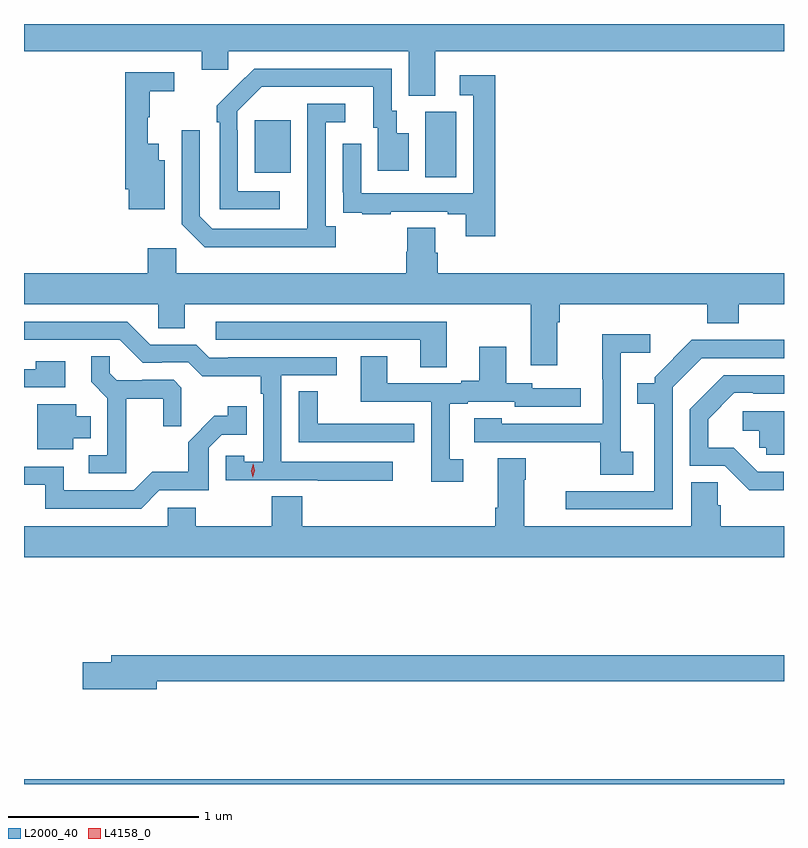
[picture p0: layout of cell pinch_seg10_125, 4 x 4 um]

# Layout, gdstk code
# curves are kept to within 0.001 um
import gdstk
lib = gdstk.Library(unit=1e-6, precision=1e-09)
def R(c, l, rs):  # rectangles x0, y0, x1, y1
    for r in rs: c.add(gdstk.rectangle(r[:2], r[2:], *l))
def P(c, l, *ps):  # polygons
    for p in ps: c.add(gdstk.Polygon(p, *l))
L2000_40 = (2000, 40)
L4158_0 = (4158, 0)

pinch_seg10_125 = lib.new_cell('pinch_seg10_125')
R(pinch_seg10_125, L2000_40, [(730.682,1279.143,734.682,1279.168), (732.794,1282.336,732.958,1282.68), (731.897,1282.361,732.085,1282.636)])
P(pinch_seg10_125, L2000_40, [(732.847,1283),(734.682,1283),(734.682,1283.143),(730.682,1283.143),(730.682,1283),(731.618,1283),(731.618,1282.902),(731.757,1282.902),(731.757,1283),(732.707,1283),(732.707,1282.765),(732.847,1282.765)],
  [(732.028,1282.263),(731.808,1282.263),(731.808,1282.583),(731.805,1282.583),(731.805,1282.683),(731.934,1282.812),(732.521,1282.812),(732.521,1282.596),(732.545,1282.596),(732.545,1282.371),(732.706,1282.371),(732.706,1282.567),(732.643,1282.567),(732.643,1282.686),(732.618,1282.686),(732.618,1282.908),(731.894,1282.908),(731.697,1282.713),(731.697,1282.625),(731.712,1282.625),(731.712,1282.167),(732.028,1282.167)],
  [(731.422,1282.426),(731.392,1282.426),(731.392,1282.513),(731.333,1282.513),(731.333,1282.653),(731.344,1282.653),(731.344,1282.789),(731.473,1282.789),(731.473,1282.89),(731.215,1282.89),(731.215,1282.273),(731.234,1282.273),(731.234,1282.169),(731.422,1282.169)],
  [(733.163,1282.873),(732.975,1282.873),(732.975,1282.767),(733.047,1282.767),(733.047,1282.251),(732.456,1282.251),(732.456,1282.513),(732.36,1282.513),(732.36,1282.258),(732.361,1282.258),(732.361,1282.149),(732.463,1282.149),(732.463,1282.143),(732.611,1282.143),(732.611,1282.155),(732.911,1282.155),(732.911,1282.143),(733.007,1282.143),(733.007,1282.026),(733.163,1282.026)],
  [(732.322,1282.078),(732.27,1282.078),(732.27,1282.626),(732.373,1282.626),(732.373,1282.722),(732.174,1282.722),(732.173,1282.065),(731.673,1282.065),(731.607,1282.131),(731.607,1282.585),(731.511,1282.585),(731.511,1282.089),(731.632,1281.968),(732.322,1281.968)],
  [(733.489,1281.572),(733.502,1281.572),(733.502,1281.668),(734.279,1281.668),(734.279,1281.569),(734.444,1281.569),(734.444,1281.668),(734.682,1281.668),(734.682,1281.832),(732.86,1281.832),(732.86,1281.938),(732.847,1281.938),(732.847,1282.07),(732.7,1282.07),(732.7,1281.945),(732.695,1281.945),(732.695,1281.832),(731.484,1281.832),(731.484,1281.964),(731.333,1281.964),(731.333,1281.832),(730.682,1281.832),(730.682,1281.668),(731.388,1281.668),(731.388,1281.541),(731.527,1281.541),(731.527,1281.668),(733.349,1281.668),(733.349,1281.348),(733.489,1281.348)],
  [(732.907,1281.576),(731.691,1281.576),(731.691,1281.48),(732.767,1281.48),(732.767,1281.337),(732.907,1281.337)],
  [(732.622,1280.838),(732.036,1280.838),(732.036,1281.294),(732.328,1281.294),(732.328,1281.39),(731.758,1281.39),(731.758,1281.387),(731.658,1281.387),(731.589,1281.456),(731.346,1281.456),(731.226,1281.576),(730.682,1281.576),(730.682,1281.48),(731.187,1281.48),(731.307,1281.36),(731.408,1281.36),(731.408,1281.363),(731.547,1281.363),(731.62,1281.29),(731.928,1281.29),(731.928,1281.197),(731.94,1281.197),(731.94,1280.839),(731.841,1280.839),(731.841,1280.871),(731.745,1280.871),(731.745,1280.742),(732.229,1280.742),(732.229,1280.74),(732.622,1280.74)],
  [(733.888,1280.892),(733.824,1280.892),(733.824,1281.413),(733.978,1281.413),(733.978,1281.511),(733.726,1281.511),(733.726,1281.272),(733.728,1281.272),(733.728,1281.039),(733.197,1281.039),(733.197,1281.067),(733.053,1281.067),(733.053,1280.943),(733.411,1280.943),(733.411,1280.941),(733.716,1280.941),(733.716,1280.77),(733.888,1280.77)],
  [(734.097,1281.231),(734.25,1281.384),(734.682,1281.384),(734.682,1281.482),(734.527,1281.482),(734.527,1281.48),(734.196,1281.48),(734.001,1281.285),(734.001,1281.253),(733.909,1281.253),(733.909,1281.144),(734,1281.144),(734,1280.685),(733.533,1280.685),(733.533,1280.589),(734.097,1280.589)],
  [(732.994,1280.853),(732.922,1280.853),(732.922,1281.144),(733.018,1281.144),(733.018,1281.156),(733.266,1281.156),(733.266,1281.129),(733.612,1281.129),(733.612,1281.225),(733.356,1281.225),(733.356,1281.252),(733.219,1281.252),(733.219,1281.445),(733.079,1281.445),(733.079,1281.265),(732.983,1281.265),(732.983,1281.252),(732.595,1281.252),(732.595,1281.395),(732.455,1281.395),(732.455,1281.156),(732.825,1281.156),(732.825,1280.733),(732.994,1280.733)],
  [(731.219,1281.17),(731.416,1281.17),(731.416,1281.027),(731.51,1281.027),(731.51,1281.229),(731.469,1281.27),(731.304,1281.27),(731.304,1281.267),(731.17,1281.267),(731.133,1281.304),(731.133,1281.395),(731.035,1281.395),(731.035,1281.259),(731.121,1281.173),(731.121,1280.874),(731.022,1280.874),(731.022,1280.778),(731.219,1280.778)],
  [(730.9,1281.367),(730.744,1281.367),(730.744,1281.327),(730.682,1281.327),(730.682,1281.231),(730.9,1281.231)],
  [(734.68,1280.787),(734.544,1280.787),(734.417,1280.914),(734.284,1280.914),(734.284,1281.064),(734.421,1281.201),(734.521,1281.201),(734.521,1281.198),(734.682,1281.198),(734.682,1281.294),(734.366,1281.294),(734.187,1281.115),(734.187,1280.817),(734.37,1280.817),(734.498,1280.69),(734.68,1280.69)],
  [(732.736,1281.038),(732.623,1281.038),(732.623,1281.039),(732.228,1281.039),(732.228,1281.209),(732.129,1281.209),(732.129,1280.943),(732.736,1280.943)],
  [(730.942,1280.963),(731.032,1280.963),(731.032,1281.079),(730.957,1281.079),(730.957,1281.142),(730.751,1281.142),(730.751,1280.906),(730.942,1280.906)],
  [(731.394,1280.688),(731.655,1280.688),(731.655,1280.913),(731.724,1280.982),(731.855,1280.982),(731.855,1281.13),(731.754,1281.13),(731.754,1281.08),(731.684,1281.08),(731.547,1280.942),(731.547,1280.787),(731.358,1280.787),(731.259,1280.688),(730.891,1280.688),(730.891,1280.814),(730.682,1280.814),(730.682,1280.718),(730.793,1280.718),(730.793,1280.592),(731.298,1280.592)],
  [(734.682,1281.105),(734.466,1281.105),(734.466,1281.002),(734.553,1281.002),(734.553,1280.913),(734.589,1280.913),(734.589,1280.877),(734.682,1280.877)],
  [(734.682,1280.5),(734.348,1280.5),(734.348,1280.61),(734.333,1280.61),(734.333,1280.732),(734.195,1280.732),(734.195,1280.5),(733.315,1280.5),(733.315,1280.744),(733.323,1280.744),(733.323,1280.857),(733.175,1280.857),(733.175,1280.596),(733.163,1280.596),(733.163,1280.5),(732.146,1280.5),(732.146,1280.657),(731.986,1280.657),(731.986,1280.5),(731.586,1280.5),(731.586,1280.598),(731.439,1280.598),(731.439,1280.5),(730.682,1280.5),(730.682,1280.336),(734.682,1280.336)],
  [(731.38,1279.684),(734.682,1279.684),(734.682,1279.82),(731.141,1279.82),(731.141,1279.784),(730.992,1279.784),(730.992,1279.642),(731.38,1279.642)])
P(pinch_seg10_125, L4158_0, [(731.886,1280.757),(731.886,1280.757),(731.877,1280.793),(731.888,1280.829),(731.888,1280.829),(731.888,1280.829),(731.897,1280.793),(731.886,1280.757)])

lib.write_gds('pinch_seg10_125.gds')
